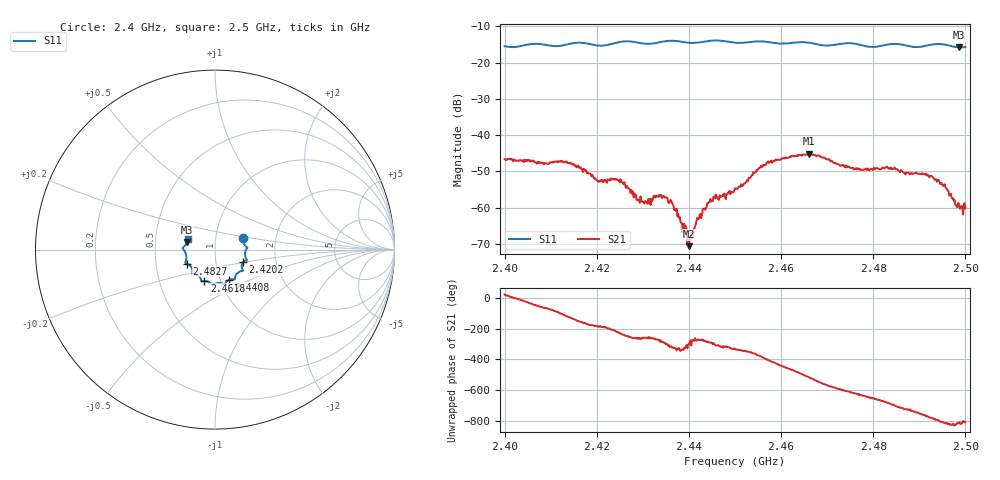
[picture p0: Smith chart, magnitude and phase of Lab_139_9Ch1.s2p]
# Hz S RI R 50
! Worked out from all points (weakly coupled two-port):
!   601 points, 2.4 GHz to 2.5 GHz, reference 50 ohm
!   highest |S21| = -45.13 dB at 2.466 GHz (marker M1); lowest = -70.6 dB at 2.44 GHz (marker M2)
!   lowest |S11| = -15.8 dB at 2.4987 GHz (marker M3), VSWR 1.39, Z = 36.4 + j3.16 ohm
!   |S11| at or under -10 dB: start of sweep to end of sweep
!   S12 and S22 are empty: the file has one direction only
!   S11 on the Smith chart (normalised r, x): 2.4 GHz: 1.36, +0.17; 2.4202 GHz: 1.36, -0.20; 2.4408 GHz: 1.10, -0.39; 2.4618 GHz: 0.84, -0.30; 2.4827 GHz: 0.72, -0.12; 2.5 GHz: 0.73, +0.09
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2.4e9  0.1561 0.0619  0.00436 0.00164  0 0  0 0
2.412667e9  0.1685 -0.0378  -0.00139 -0.004  0 0  0 0
2.416667e9  0.1781 -0.0594  -0.00316 -0.00134  0 0  0 0
2.420167e9  0.1567 -0.0705  -0.00233 0.000202  0 0  0 0
2.425e9  0.155 -0.1138  -0.0015 0.00165  0 0  0 0
2.4305e9  0.1302 -0.1269  -0.000255 0.00121  0 0  0 0
2.433333e9  0.1119 -0.1519  5.64e-05 0.00141  0 0  0 0
2.4365e9  0.11 -0.1665  0.000885 0.000665  0 0  0 0
2.44e9  0.0874 -0.1657  0.000153 0.000252  0 0  0 0
2.440833e9  0.0789 -0.169  3.47e-05 0.000406  0 0  0 0
2.4445e9  0.0545 -0.1918  0.000415 0.00112  0 0  0 0
2.45e9  0.0278 -0.1859  0.00166 0.000806  0 0  0 0
2.456667e9  -0.0171 -0.1933  0.00318 -0.00228  0 0  0 0
2.461833e9  -0.0602 -0.1749  -0.001 -0.00491  0 0  0 0
2.466e9  -0.0759 -0.1721  -0.00501 -0.00237  0 0  0 0
2.466667e9  -0.077 -0.1684  -0.00519 -0.00151  0 0  0 0
2.475833e9  -0.1266 -0.1319  -0.000709 0.00327  0 0  0 0
2.482667e9  -0.1572 -0.0777  0.00255 0.0025  0 0  0 0
2.483333e9  -0.1614 -0.0763  0.00277 0.00208  0 0  0 0
2.492833e9  -0.1776 0.00392  0.00128 -0.00233  0 0  0 0
2.498667e9  -0.1558 0.0423  7.25e-05 -0.00104  0 0  0 0
2.5e9  -0.1518 0.0616  0.000113 -0.000975  0 0  0 0
